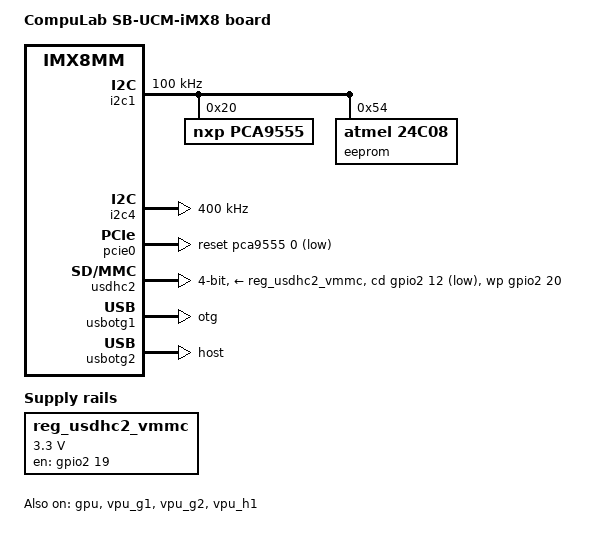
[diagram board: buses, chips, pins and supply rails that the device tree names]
/*
 * Copyright (C) 2018 CompuLab Ltd.
 *
 * This program is free software; you can redistribute it and/or
 * modify it under the terms of the GNU General Public License
 * as published by the Free Software Foundation; either version 2
 * of the License, or (at your option) any later version.
 *
 * This program is distributed in the hope that it will be useful,
 * but WITHOUT ANY WARRANTY; without even the implied warranty of
 * MERCHANTABILITY or FITNESS FOR A PARTICULAR PURPOSE. See the
 * GNU General Public License for more details.
 */

#include "../freescale/imx8mm-pinfunc.h"

/ {
	model = "CompuLab SB-UCM-iMX8 board";
	compatible = "sb-ucm-imx8", "cpl,ucm-imx8m-mini", "fsl,imx8mm";

	reg_usdhc2_vmmc: regulator-usdhc2 {
		compatible = "regulator-fixed";
		regulator-name = "VSD_3V3";
		regulator-min-microvolt = <3300000>;
		regulator-max-microvolt = <3300000>;
		gpio = <&gpio2 19 GPIO_ACTIVE_HIGH>;
		enable-active-high;
		startup-delay-us = <100>;
		off-on-delay-us = <12000>;
	};
};

&i2c1 {
	clock-frequency = <100000>;
	pinctrl-names = "default";
	pinctrl-0 = <&pinctrl_i2c1>;
	status = "okay";

	pca9555:pca9555@20 {
		compatible = "nxp,pca9555";
		gpio-controller;
		#gpio-cells = <2>;
		reg = <0x20>;
	};

	eeprom@54 {
		compatible = "atmel,24c08";
		reg = <0x54>;
		pagesize = <16>;
	};
};

&i2c3 {
	clock-frequency = <100000>;
	pinctrl-names = "default";
	pinctrl-0 = <&pinctrl_i2c3>;
	status = "disabled";
};

&i2c4 {
       clock-frequency = <400000>;
       pinctrl-names = "default";
       pinctrl-0 = <&pinctrl_i2c4>;
       status = "okay";
};

&pcie0 {
	reset-gpio = <&pca9555 0 GPIO_ACTIVE_LOW>;
	ext_osc = <1>;
	status = "okay";
};

&usdhc2 {
	pinctrl-names = "default", "state_100mhz", "state_200mhz";
	pinctrl-0 = <&pinctrl_usdhc2>, <&pinctrl_usdhc2_gpio>;
	pinctrl-1 = <&pinctrl_usdhc2_100mhz>, <&pinctrl_usdhc2_gpio>;
	pinctrl-2 = <&pinctrl_usdhc2_200mhz>, <&pinctrl_usdhc2_gpio>;
	cd-gpios = <&gpio2 12 GPIO_ACTIVE_LOW>;
	wp-gpios = <&gpio2 20 GPIO_ACTIVE_HIGH>;
	no-1-8-v;
	bus-width = <4>;
	vmmc-supply = <&reg_usdhc2_vmmc>;
	status = "okay";
};

&usbotg1 {
	dr_mode = "otg";
	status = "okay";
};

&usbotg2 {
	dr_mode = "host";
	status = "okay";
};

&gpu {
	status = "okay";
};

&vpu_g1 {
	status = "okay";
};

&vpu_g2 {
	status = "okay";
};

&vpu_h1 {
	status = "okay";
};


&iomuxc {
	sb-ucm-imx8 {
		pinctrl_i2c1: i2c1grp {
			fsl,pins = <
				MX8MM_IOMUXC_I2C1_SCL_I2C1_SCL		0x400001c3
				MX8MM_IOMUXC_I2C1_SDA_I2C1_SDA		0x400001c3
			>;
		};

		pinctrl_i2c3: i2c3grp {
			fsl,pins = <
				MX8MM_IOMUXC_I2C3_SCL_I2C3_SCL		0x400001c3
				MX8MM_IOMUXC_I2C3_SDA_I2C3_SDA		0x400001c3
			>;
		};

		pinctrl_i2c4: i2c4grp {
			fsl,pins = <
				MX8MM_IOMUXC_I2C4_SCL_I2C4_SCL		0x400001c3
				MX8MM_IOMUXC_I2C4_SDA_I2C4_SDA		0x400001c3
			>;
		};

		pinctrl_usdhc2: usdhc2grp {
			fsl,pins = <
				MX8MM_IOMUXC_SD2_CLK_USDHC2_CLK		0x190
				MX8MM_IOMUXC_SD2_CMD_USDHC2_CMD		0x1d0
				MX8MM_IOMUXC_SD2_DATA0_USDHC2_DATA0	0x1d0
				MX8MM_IOMUXC_SD2_DATA1_USDHC2_DATA1	0x1d0
				MX8MM_IOMUXC_SD2_DATA2_USDHC2_DATA2	0x1d0
				MX8MM_IOMUXC_SD2_DATA3_USDHC2_DATA3	0x1d0
				MX8MM_IOMUXC_GPIO1_IO04_USDHC2_VSELECT	0x1d0
			>;
		};

		pinctrl_usdhc2_gpio: usdhc2grpgpio {
			fsl,pins = <
				MX8MM_IOMUXC_SD2_RESET_B_GPIO2_IO19	0x41
				MX8MM_IOMUXC_SD2_CD_B_GPIO2_IO12	0x41
				MX8MM_IOMUXC_SD2_WP_GPIO2_IO20		0x00
			>;
		};

		pinctrl_usdhc2_100mhz: usdhc2grp100mhz {
			fsl,pins = <
				MX8MM_IOMUXC_SD2_CLK_USDHC2_CLK		0x194
				MX8MM_IOMUXC_SD2_CMD_USDHC2_CMD		0x1d4
				MX8MM_IOMUXC_SD2_DATA0_USDHC2_DATA0	0x1d4
				MX8MM_IOMUXC_SD2_DATA1_USDHC2_DATA1	0x1d4
				MX8MM_IOMUXC_SD2_DATA2_USDHC2_DATA2	0x1d4
				MX8MM_IOMUXC_SD2_DATA3_USDHC2_DATA3	0x1d4
				MX8MM_IOMUXC_GPIO1_IO04_USDHC2_VSELECT	0x1d0
			>;
		};

		pinctrl_usdhc2_200mhz: usdhc2grp200mhz {
			fsl,pins = <
				MX8MM_IOMUXC_SD2_CLK_USDHC2_CLK		0x196
				MX8MM_IOMUXC_SD2_CMD_USDHC2_CMD		0x1d6
				MX8MM_IOMUXC_SD2_DATA0_USDHC2_DATA0	0x1d6
				MX8MM_IOMUXC_SD2_DATA1_USDHC2_DATA1	0x1d6
				MX8MM_IOMUXC_SD2_DATA2_USDHC2_DATA2	0x1d6
				MX8MM_IOMUXC_SD2_DATA3_USDHC2_DATA3	0x1d6
				MX8MM_IOMUXC_GPIO1_IO04_USDHC2_VSELECT	0x1d0
			>;
		};

		/*
		Copy & Paste from an MXP evk
		As of now an external OSC1 25MHz is in use
		Left as an example for the next revision
		*/
		pinctrl_csi1: csi1grp {
			fsl,pins = <
				MX8MM_IOMUXC_GPIO1_IO15_CCMSRCGPCMIX_CLKO2	0x59
				MX8MM_IOMUXC_GPIO1_IO14_CCMSRCGPCMIX_CLKO1	0x59
			>;
		};
	};
};
